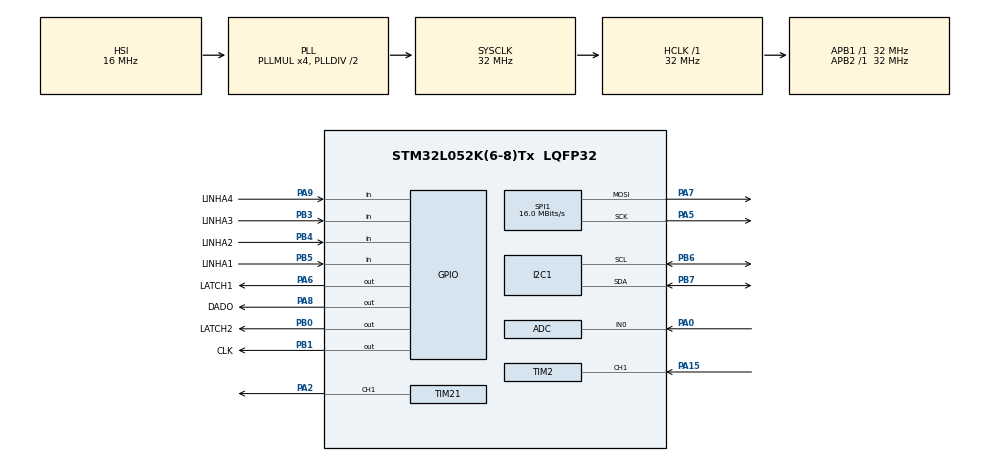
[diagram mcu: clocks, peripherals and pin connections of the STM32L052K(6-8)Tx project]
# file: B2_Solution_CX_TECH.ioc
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I2C1.Timing=0x00B07CB4
Mcu.Family=STM32L0
Mcu.Name=STM32L052K(6-8)Tx
Mcu.Package=LQFP32
NVIC.TIM22_IRQn=true\:0\:0\:false\:false\:true\:true\:true\:true
PA0.Mode=IN0
PA0.Signal=ADC_IN0
PA15.Signal=S_TIM2_CH1
PA2.Signal=S_TIM21_CH1
PA5.Mode=TX_Only_Simplex_Unidirect_Master
PA5.Signal=SPI1_SCK
PA6.GPIO_Label=LATCH1
PA6.Signal=GPIO_Output
PA7.Mode=TX_Only_Simplex_Unidirect_Master
PA7.Signal=SPI1_MOSI
PA8.GPIO_Label=DADO
PA8.Signal=GPIO_Output
PA9.GPIO_Label=LINHA4
PA9.Signal=GPIO_Input
PB0.GPIO_Label=LATCH2
PB0.Signal=GPIO_Output
PB1.GPIO_Label=CLK
PB1.Signal=GPIO_Output
PB3.GPIO_Label=LINHA3
PB3.Signal=GPIO_Input
PB4.GPIO_Label=LINHA2
PB4.Signal=GPIO_Input
PB5.GPIO_Label=LINHA1
PB5.Signal=GPIO_Input
PB6.Mode=I2C
PB6.Signal=I2C1_SCL
PB7.Mode=I2C
PB7.Signal=I2C1_SDA
ProjectManager.HeapSize=0x200
ProjectManager.StackSize=0x400
ProjectManager.TargetToolchain=STM32CubeIDE
RCC.AHBFreq_Value=32000000
RCC.APB1Freq_Value=32000000
RCC.APB1TimFreq_Value=32000000
RCC.APB2Freq_Value=32000000
RCC.APB2TimFreq_Value=32000000
RCC.HCLKFreq_Value=32000000
RCC.HSI16_VALUE=16000000
RCC.HSI48_VALUE=48000000
RCC.HSI_VALUE=16000000
RCC.LSE_VALUE=32768
RCC.MSI_VALUE=2097000
RCC.PLLMUL=RCC_PLLMUL_4
RCC.SYSCLKFreq_VALUE=32000000
RCC.SYSCLKSource=RCC_SYSCLKSOURCE_PLLCLK
RCC.VCOOutputFreq_Value=64000000
SH.S_TIM21_CH1.0=TIM21_CH1,PWM Generation1 CH1
SH.S_TIM2_CH1.0=TIM2_CH1,Input_Capture1_from_TI1
SPI1.CalculateBaudRate=16.0 MBits/s
SPI1.Direction=SPI_DIRECTION_2LINES
SPI1.FirstBit=SPI_FIRSTBIT_LSB
SPI1.Mode=SPI_MODE_MASTER
SPI1.VirtualType=VM_MASTER
TIM2.Channel-Input_Capture1_from_TI1=TIM_CHANNEL_1
TIM2.Prescaler=32 - 1
TIM21.Channel-PWM\ Generation1\ CH1=TIM_CHANNEL_1
TIM21.Period=1000 - 1
TIM21.Prescaler=32 - 1
TIM22.Period=1000 - 1
TIM22.Prescaler=32 - 1
VP_TIM21_VS_ClockSourceINT.Mode=Internal
VP_TIM22_VS_ClockSourceINT.Mode=Internal
VP_TIM2_VS_ClockSourceINT.Mode=Internal
board=custom

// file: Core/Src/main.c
/* USER CODE BEGIN Header */
/**
 ******************************************************************************
 * @file           : main.c
 * @brief          : Main program body
 ******************************************************************************
 * @attention
 *
 * Copyright (c) 2026 STMicroelectronics.
 * All rights reserved.
 *
 * This software is licensed under terms that can be found in the LICENSE file
 * in the root directory of this software component.
 * If no LICENSE file comes with this software, it is provided AS-IS.
 *
 ******************************************************************************
 */
/* USER CODE END Header */
#include "main.h"
#include "adc.h"
#include "i2c.h"
#include "spi.h"
#include "tim.h"
#include "gpio.h"

/* USER CODE BEGIN Includes */

#include <lcd_panel.h>
#include <stdbool.h>
#include <stdio.h>
#include <DS1307.h>
#include <keypad.h>
#include <frequency.h>
#include <melodyFreq.h>

/* USER CODE END Includes */

/* USER CODE BEGIN PTD */

#define max_filter 150

typedef struct {

	bool but[16];
	uint8_t date[6], hour;
	float freq;
	int digit[4];
	bool inc[4], dec[4];
	int hours, level_bat;

} in_t;

typedef struct {

	int display_value;
} out_t;

typedef struct {

	bool inc[4], dec[4], lock[3], mode, apm;
	float nota;
	int set_count;
	int humor;
	uint32_t deb, humor_time;
} logic_t;

double filter[max_filter], m_filter = 0;
uint8_t cont = 0;
float last_note;
float DO[4] = { 130.81, 261.63, 523.25, 1046.50 };
float DO_RE[4] = { 138.59, 277.18, 554.37, 1108.73 };
float RE[4] = { 146.83, 293.66, 587.33, 1174.66 };
float RE_MI[4] = { 155.56, 311.13, 622.25, 1244.51 };
float MI[4] = { 164.81, 329.63, 659.25, 1318.51 };
float FA[4] = { 174.61, 349.23, 698.46, 1396.91 };
float FA_SOL[4] = { 185.00, 369.99, 739.99, 1479.98 };
float SOL[4] = { 196.00, 392.00, 783.99, 1567.98 };
float SOL_LA[4] = { 207.65, 415.30, 830.61, 1661.22 };
float LA[4] = { 220.00, 440.00, 880.00, 1760.00, };
float LA_SI[4] = { 233.08, 466.16, 932.33, 1864.66 };
float SI[4] = { 246.94, 493.88, 987.77, 1975.53, };

/* USER CODE END PTD */

/* USER CODE BEGIN PV */

in_t in;
out_t out;
logic_t logic;

/* USER CODE END PV */

void SystemClock_Config(void);

/* USER CODE BEGIN 0 */

void lobat() {

	HAL_ADC_Start(&hadc);
	HAL_ADC_PollForConversion(&hadc, 10);
	in.level_bat = HAL_ADC_GetValue(&hadc);
	HAL_ADC_Stop(&hadc);
}

void set_freq(float freq, uint32_t duty) {

	uint32_t presc = 1000000;
	float n_countperiod = (presc / freq) - 1;
	uint32_t n_duty = (n_countperiod * duty) / 100;

	__HAL_TIM_SET_AUTORELOAD(&htim21, n_countperiod);
	__HAL_TIM_SET_COMPARE(&htim21, TIM_CHANNEL_1, n_duty);

}

void config_display(bool cntrl, uint8_t digito) {

	if (cntrl) {

		if (in.inc[digito] && logic.inc[digito] == false
				&& HAL_GetTick() - logic.deb > 100) {

			in.digit[digito]++;

			logic.inc[digito] = true;
			logic.deb = HAL_GetTick();
		}

		if (in.inc[digito] == false && logic.inc[digito] == true) {

			logic.inc[digito] = false;
		}

	} else {

		if (in.dec[digito] && logic.dec[digito] == false
				&& HAL_GetTick() - logic.deb > 100) {

			in.digit[digito]--;

			logic.dec[digito] = true;
			logic.deb = HAL_GetTick();
		}

		if (in.dec[digito] == false && logic.dec[digito] == true) {

			logic.dec[digito] = false;
		}
	}

	if (in.digit[0] > 9) {

		in.digit[0] = 0;
	}

	if (in.digit[0] < 0) {

		in.digit[0] = 9;
	}

	if (in.digit[1] > 5) {

		in.digit[1] = 0;
	}

	if (in.digit[1] < 0) {

		in.digit[1] = 5;
	}

	if (in.digit[2] > 9 && in.digit[3] == 0) {

		in.digit[2] = 0;
	}

	if (in.digit[2] < 0 && in.digit[3] == 0) {

		in.digit[2] = 9;
	}

	if (in.digit[2] > 2 && in.digit[3] == 1) {

		in.digit[2] = 0;
	}

	if (in.digit[2] < 0 && in.digit[3] == 1) {

		in.digit[2] = 2;
	}

	if (in.digit[3] > 1) {

		in.digit[3] = 0;
	}

	if (in.digit[3] < 0) {

		in.digit[3] = 1;
	}

}

void apm_button() {
	if (in.but[13] && !logic.lock[1]) {

		logic.lock[1] = true;
		logic.apm = !logic.apm;
	}

	if (!in.but[13] && logic.lock[1]) {

		logic.lock[1] = false;
	}
}

void set_button() {
	if (in.but[0] && !logic.lock[0]) {

		logic.lock[0] = true;
		logic.set_count++;
		if (logic.set_count == 1) {
			in.hours = (in.hour * 100) + in.date[1];

			in.digit[0] = in.hours % 10;
			in.digit[1] = (in.hours / 10) % 10;
			in.digit[2] = (in.hours / 100) % 10;
			in.digit[3] = in.hours / 1000;

		}

	}

	if (!in.but[0] && logic.lock[0]) {

		logic.lock[0] = false;

	}
}

void back_button() {

	if (in.but[12] && !logic.lock[2]) {

		logic.lock[2] = true;
		logic.mode = false;
		logic.set_count = false;
	}

	if (!in.but[12] && logic.lock[2]) {

		logic.lock[2] = false;
	}
}

bool inRange(double var, double min, double max) {
	return var > min && var < max ? true : false;
}

void task() {

	in.freq = get_frequence();
	DS1307_Get_Array(in.date);
	Matriz_teclado(in.but);

	in.inc[0] = in.but[2];
	in.dec[0] = in.but[3];

	in.inc[1] = in.but[6];
	in.dec[1] = in.but[7];

	in.inc[2] = in.but[10];
	in.dec[2] = in.but[11];

	in.inc[3] = in.but[14];
	in.dec[3] = in.but[15];

	config_display(1, 0);
	config_display(1, 1);
	config_display(1, 2);
	config_display(1, 3);
	config_display(0, 0);
	config_display(0, 1);
	config_display(0, 2);
	config_display(0, 3);

	set_button();
	back_button();

	if (logic.set_count == 0) {

		logic.mode = false;
	}

	else if (logic.set_count == 1) {

		logic.mode = true;
	}

	else if (logic.set_count >= 2) {
		uint8_t horinha = 0, minutinho = 0;

		horinha =
				logic.apm ?
						((in.digit[3] << 4) | in.digit[2]) | 0x12 :
						(in.digit[3] << 4) | in.digit[2];
		minutinho = (in.digit[1] << 4) | in.digit[0];

		DS1307_Set(0x26, 0x10, 0x23, horinha, minutinho, 0);
		logic.set_count = 0;

	}

	if (!logic.mode) {

		in.hour = in.date[2] > 12 ? in.date[2] - 12 :
					in.date[2] < 1 ? 12 : in.date[2];

		out.display_value = (in.hour * 100) + in.date[1];

		logic.apm = in.date[2] > 12 ? 1 : 0;

	} else {

		apm_button();

		out.display_value = in.digit[0] + (in.digit[1] * 10)
				+ (in.digit[2] * 100) + (in.digit[3] * 1000);
	}

	lobat();

	logic.humor = inRange(m_filter, 50, 52) ? 1 :
					inRange(m_filter, 162, 178) ? 2 :
					inRange(m_filter, 154, 158) ? 3 : logic.humor;

	if (out.display_value == 1000 && in.level_bat >= 1095) {

		if (logic.humor == 1) {

			logic.nota = HAL_GetTick() - logic.humor_time < 700 ? DO[1] :
							HAL_GetTick() - logic.humor_time > 700 ? RE[1] : 0;

			if (HAL_GetTick() - logic.humor_time > 800) {

				__HAL_TIM_SET_COMPARE(&htim21, TIM_CHANNEL_1, 0);
				logic.humor_time = HAL_GetTick();
			}

		}

		if (logic.humor == 2) {

			logic.nota = HAL_GetTick() - logic.humor_time < 250 ? SOL[1] :
							HAL_GetTick() - logic.humor_time > 350 ? LA[1] : 0;

			if (HAL_GetTick() - logic.humor_time > 800) {

				__HAL_TIM_SET_COMPARE(&htim21, TIM_CHANNEL_1, 0);
				logic.humor_time = HAL_GetTick();
			}

		}

		if (logic.humor == 3) {

			logic.nota =
					HAL_GetTick() - logic.humor_time < 250 ? RE[1] :
					inRange(HAL_GetTick() - logic.humor_time, 250, 500) ?
							MI[1] :
					HAL_GetTick() - logic.humor_time > 500 ? RE[1] : 0;

			if (HAL_GetTick() - logic.humor_time > 800) {

				__HAL_TIM_SET_COMPARE(&htim21, TIM_CHANNEL_1, 0);
				logic.humor_time = HAL_GetTick();
			}

		}

		logic.nota != last_note ? set_freq(logic.nota, 50) : 0; // atualiza somente uma vez a cada alteração de nota

	} else {
		__HAL_TIM_SET_COMPARE(&htim21, TIM_CHANNEL_1, 0);
	}

	WriteInt_Display(out.display_value, logic.apm, in.level_bat < 1095 ? 1 : 0);

	last_note = logic.nota;
}

/* USER CODE END 0 */

int main(void) {

	/* MCU Configuration--------------------------------------------------------*/

	/* Reset of all peripherals, Initializes the Flash interface and the Systick. */
	HAL_Init();

	/* Configure the system clock */
	SystemClock_Config();

	/* Initialize all configured peripherals */
	MX_GPIO_Init();
	MX_ADC_Init();
	MX_I2C1_Init();
	MX_SPI1_Init();
	MX_TIM2_Init();
	MX_TIM21_Init();
	MX_TIM22_Init();
	/* USER CODE BEGIN 2 */

	HAL_TIM_PWM_Start(&htim21, TIM_CHANNEL_1);
	HAL_TIM_IC_Start_IT(&htim2, TIM_CHANNEL_1);
	HAL_TIM_Base_Start_IT(&htim22);

	logic.humor_time = HAL_GetTick();

	/* USER CODE END 2 */

	/* Infinite loop */
	/* USER CODE BEGIN WHILE */
	while (1) {

		task();

		/* USER CODE END WHILE */

	}
}

void SystemClock_Config(void) {
	RCC_OscInitTypeDef RCC_OscInitStruct = { 0 };
	RCC_ClkInitTypeDef RCC_ClkInitStruct = { 0 };
	RCC_PeriphCLKInitTypeDef PeriphClkInit = { 0 };

	/** Configure the main internal regulator output voltage
	 */
	__HAL_PWR_VOLTAGESCALING_CONFIG(PWR_REGULATOR_VOLTAGE_SCALE1);

	/** Initializes the RCC Oscillators according to the specified parameters
	 * in the RCC_OscInitTypeDef structure.
	 */
	RCC_OscInitStruct.OscillatorType = RCC_OSCILLATORTYPE_HSI;
	RCC_OscInitStruct.HSIState = RCC_HSI_ON;
	RCC_OscInitStruct.HSICalibrationValue = RCC_HSICALIBRATION_DEFAULT;
	RCC_OscInitStruct.PLL.PLLState = RCC_PLL_ON;
	RCC_OscInitStruct.PLL.PLLSource = RCC_PLLSOURCE_HSI;
	RCC_OscInitStruct.PLL.PLLMUL = RCC_PLLMUL_4;
	RCC_OscInitStruct.PLL.PLLDIV = RCC_PLLDIV_2;
	if (HAL_RCC_OscConfig(&RCC_OscInitStruct) != HAL_OK) {
		Error_Handler();
	}

	/** Initializes the CPU, AHB and APB buses clocks
	 */
	RCC_ClkInitStruct.ClockType = RCC_CLOCKTYPE_HCLK | RCC_CLOCKTYPE_SYSCLK
			| RCC_CLOCKTYPE_PCLK1 | RCC_CLOCKTYPE_PCLK2;
	RCC_ClkInitStruct.SYSCLKSource = RCC_SYSCLKSOURCE_PLLCLK;
	RCC_ClkInitStruct.AHBCLKDivider = RCC_SYSCLK_DIV1;
	RCC_ClkInitStruct.APB1CLKDivider = RCC_HCLK_DIV1;
	RCC_ClkInitStruct.APB2CLKDivider = RCC_HCLK_DIV1;

	if (HAL_RCC_ClockConfig(&RCC_ClkInitStruct, FLASH_LATENCY_1) != HAL_OK) {
		Error_Handler();
	}
	PeriphClkInit.PeriphClockSelection = RCC_PERIPHCLK_I2C1;
	PeriphClkInit.I2c1ClockSelection = RCC_I2C1CLKSOURCE_PCLK1;
	if (HAL_RCCEx_PeriphCLKConfig(&PeriphClkInit) != HAL_OK) {
		Error_Handler();
	}
}

/* USER CODE BEGIN 4 */

void HAL_TIM_PeriodElapsedCallback(TIM_HandleTypeDef *htim) {

	if (htim->Instance == TIM22) {

		double sum = 0;
		filter[cont] = in.freq;

		cont = cont > (max_filter - 1) ? 0 : cont + 1;

		if (cont > max_filter) {
			for (uint8_t i = 0; i < (max_filter - 1); i++) {
				sum += filter[i];
			}
			m_filter = sum / max_filter;
		}

	}

}

/* USER CODE END 4 */

void Error_Handler(void) {
	__disable_irq();
	while (1) {
	}
}
